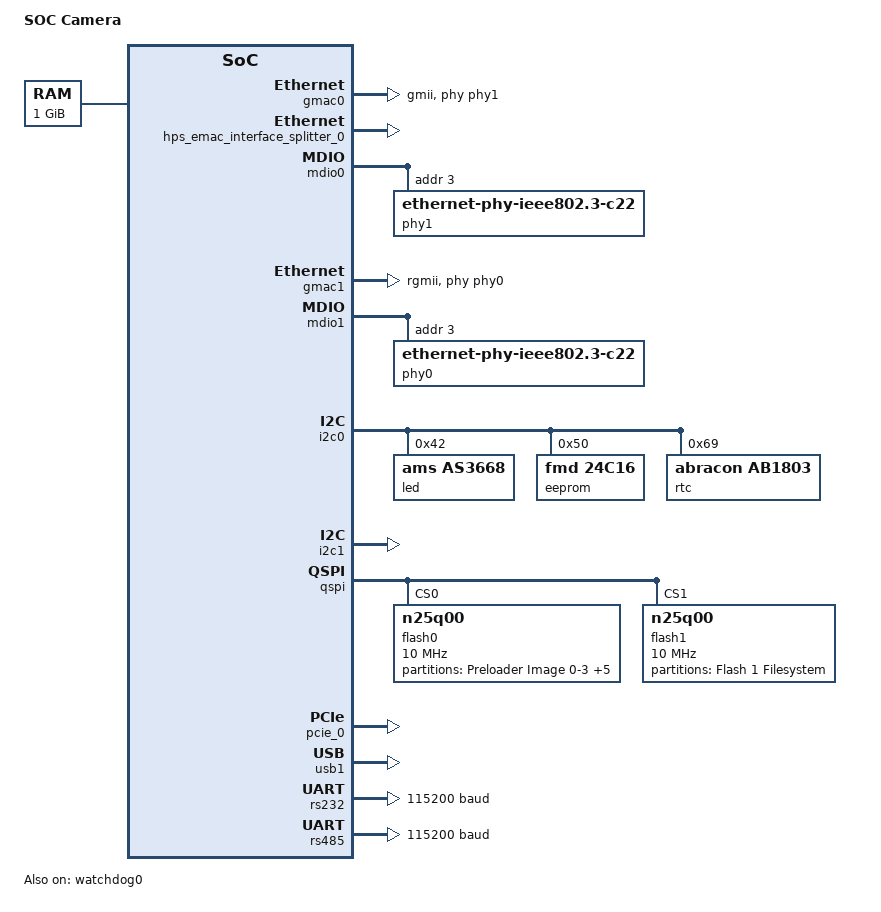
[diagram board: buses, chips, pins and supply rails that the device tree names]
/*
 *  Copyright (C) 2012 Altera Corporation <www.altera.com>
 *
 * This program is free software; you can redistribute it and/or modify
 * it under the terms of the GNU General Public License as published by
 * the Free Software Foundation; either version 2 of the License, or
 * (at your option) any later version.
 *
 * This program is distributed in the hope that it will be useful,
 * but WITHOUT ANY WARRANTY; without even the implied warranty of
 * MERCHANTABILITY or FITNESS FOR A PARTICULAR PURPOSE.  See the
 * GNU General Public License for more details.
 *
 * You should have received a copy of the GNU General Public License
 * along with this program.  If not, see <http://www.gnu.org/licenses/>.
 */

/dts-v1/;
#include "socfpga.dtsi"

/ {
	model = "SOC Camera";
	compatible = "altr,socfpga-cyclone5", "altr,socfpga";

	chosen {
		bootargs = "console=ttyS0,115200 root=/dev/mmcblk0p2 rw rootwait";
	};

	memory {
		name = "memory";
		device_type = "memory";
		reg = <0x0 0x40000000>; /* 1 GB */
	};

/* this allow the ethaddr uboot environmnet variable contents
* to be added to the gmac1 device tree blob.
*/

	aliases {
		ethernet0 = &gmac1;
		ethernet1 = &gmac0;
	};

	soc {
		clkmgr@ffd04000 {
			clocks {
				osc1 {
					clock-frequency = <25000000>;
				};
			};
		};

		dwmmc0@ff704000 {
			num-slots = <1>;
			supports-highspeed;
			broken-cd;
			altr,dw-mshc-ciu-div = <3>;
			altr,dw-mshc-sdr-timing = <0 3>;

			slot@0 {
				reg = <0>;
				bus-width = <4>;
			};
		};

		gmac0: ethernet@ff700000 {
			status = "okay";
			phy-handle = <&phy1>;
			phy-mode = "gmii";
			snps,max-mtu = <4062>;
			altr,emac-splitter = <&hps_emac_interface_splitter_0>;
		};

		hps_emac_interface_splitter_0: splitter@0xff2013000 {
			compatible = "altr,emac-splitter-1.0";
			reg = <0xFF213000 0x00000004>;
			clocks = < &h2f_user0_clk >;
		};

		mdio0: mdio@ff700000 {
			status = "okay";
			#address-cells = <1>;
			#size-cells = <0>;
			phy1: ethernet-phy@1 {
				reg = <0x3>;
				device_type = "ethernet-phy";
				compatible = "ethernet-phy-ieee802.3-c22";
			};
		};

		gmac1: ethernet@ff702000 {
			status = "okay";
			phy-handle = <&phy0>;
			phy-mode = "rgmii";
			snps,max-mtu = <4062>;
		};

		mdio1: mdio@ff702000 {
			status = "okay";
			#address-cells = <1>;
			#size-cells = <0>;
			phy0: ethernet-phy@0 {
				reg = <0x3>;
				device_type = "ethernet-phy";
				compatible = "ethernet-phy-ieee802.3-c22";
			};
		};

		i2c0: i2c@ffc04000 {
			speed-mode = <0>;
			status = "okay";
		};

		i2c1: i2c@ffc05000 {
			speed-mode = <0>;
			status = "okay";
		};

		qspi: spi@ff705000 {
			compatible = "cadence,qspi";
                        #address-cells = <1>;
			#size-cells = <0>;
			reg = <0xff705000 0x1000>,
				<0xffa00000 0x1000>;
			interrupts = <0 151 4>;
			master-ref-clk = <400000000>;
			ext-decoder = <0>;  /* external decoder */
			num-chipselect = <4>;
			fifo-depth = <128>;
			bus-num = <2>;

			flash0: n25q00@0 {
				#address-cells = <1>;
				#size-cells = <1>;
				compatible = "n25q00";
				reg = <0>;      /* chip select */
				spi-max-frequency = <10000000>;
				m25p,fast-read;
				page-size = <256>;
				block-size = <16>; /* 2^16, 64KB */
				read-delay = <4>;  /* delay value in read data capture register */
				tshsl-ns = <50>;
				tsd2d-ns = <50>;
				tchsh-ns = <4>;
				tslch-ns = <4>;

				partition@qspi-preloader {
					/* 64 KB for preloader image 0-3. */
					label = "Preloader Image 0-3";
					reg = <0x0 0x40000>;
				};
				partition@qspi-ubootenv {
					/* 64 KB for u-Boot Env. */
					label = "U-Boot Env";
					reg = <0x40000 0x10000>;
				};
				partition@qspi-dtb {
					/* 64 KB for DTB */
					label = "DTB";
					reg = <0x50000 0x10000>;
				};
				partition@qspi-uboot {
					/* 512 KB for U-Boot */
					label = "U-Boot";
					reg = <0x60000 0x80000>;
				};
				partition@qspi-kernel {
					/* 8 MB for Kernel */
					label = "Kernel";
					reg = <0xE0000 0x800000>;
				};
				partition@qspi-rootfs {
					/* 7.125 MB for jffs2 data. */
					label = "Flash 0 jffs2 Filesystem";
					reg = <0x8E0000 0x720000>;
				};
			};

			flash1: n25q00@1 {
				#address-cells = <1>;
				#size-cells = <1>;
				compatible = "n25q00";
				reg = <1>;      /* chip select */
				spi-max-frequency = <10000000>;
				m25p,fast-read;
				page-size = <256>;
				block-size = <16>; /* 2^16, 64KB */
				read-delay = <4>;  /* delay value in read data capture register */
				tshsl-ns = <50>;
				tsd2d-ns = <50>;
				tchsh-ns = <4>;
				tslch-ns = <4>;

				partition@0 {
					/* 16MB for raw data. */
					label = "Flash 1 Filesystem";
					reg = <0x0 0x1000000>;
				};
			};
		};

		pcie_0: pcie@0x0 {                                              
			compatible = "altr,pcie-root-port-1.0";                  
			reg = < 0xc0000000 0x20000000                            
				0xFF240000 0x00004000  >;                        
			reg-names = "Txs", "Cra";                                
			interrupt-parent = < &intc>;                             
			interrupts = < 0 40 4 >;                                 
			interrupt-controller;                                    
			#interrupt-cells = < 1 >;                                
			altr,msi = <&msi0>;                                      
			device_type = "pci";                                     
		};                                                              

		msi0: msi@0xFF200000 {                                          
			compatible = "altr,msi-1.0";                             
			reg = < 0xFF200000 0x00000010                            
			0xFF200010 0x00000080 >;                         
			reg-names = "csr", "vector_slave";                       
			interrupt-parent = < &intc>;                             
			interrupts = < 0 42 4 >;                                 
			msi-controller = < 1 >;                                  
			num-vectors = < 32 >;                                    
		};        

		timer0@ffc08000 {
			clock-frequency = <100000000>;
		};

		timer1@ffc09000 {
			clock-frequency = <100000000>;
		};

		timer2@ffd00000 {
			clock-frequency = <25000000>;
		};

		timer3@ffd01000 {
			clock-frequency = <25000000>;
		};

		serial0@ffc02000 {
			clock-frequency = <100000000>;
		};

		serial1@ffc03000 {
			clock-frequency = <100000000>;
		};

		sysmgr@ffd08000 {
			cpu1-start-addr = <0xffd080c4>;
		};

		usb1: usb@ffb40000 {
			status = "okay";
		};

		gpio3: gpio@ff220000 {
			compatible = "cl,camio-1.0";
			reg = <0xff220000 0x20>;
			interrupts = <0 41 4>;
			virtual_irq_start = <342>;
			interrupt-controller;
			#interrupt-cells = <2>;
			gpio-controller;
			#gpio-cells = <2>;
		};
		
		rs232: serial@0xFF207000 {
			compatible = "altr,uart-15.0", "altr,uart-1.0";
			reg = <0xFF207000 0x00000020>;
			interrupts = <0 45 4>;
			clock-frequency = <50000000>;
			current-speed = <115200>;
		};

		rs485: serial@0xFF206000 {
			compatible = "altr,uart-15.0", "altr,uart-1.0";
			reg = <0xFF206000 0x00000020>;
			interrupts = <0 44 4>;
			clock-frequency = <50000000>;
			current-speed = <115200>;
		};

		camlink_uart: serial@0xFF205000 {
			compatible = "altr,uart-15.0", "altr,uart-1.0";
			reg = <0xFF205000 0x00000020>;
			interrupts = <0 43 4>;
			clock-frequency = <50000000>;
			current-speed = <115200>;
		};

		sgdma_dispatcher: streamer@20000000 {
			compatible = "uio,irq";
			interrupts = <0 46 4>;
		};

		gpio_altr: gpio_altr {
		    compatible = "altr,pio-1.0";
		    reg = <0xff225000 0x10>;
		    #interrupts = <0 45 4>;
		    width = <32>;
		    level_trigger = <0>;
		    #gpio-cells = <2>;
		    gpio-controller;
		    #interrupt-cells = <1>;
		    interrupt-controller;
		};
	};

};

&watchdog0 {
	status = "okay";
};

&i2c0 {
	/* on SOM */
	led@42 {
		device_type = "led";
		compatible = "ams,as3668";
		reg = <0x42>;
	};
	/* on SOM */
	eeprom@50 {
		compatible = "fmd,24c16";
		reg = <0x50>;
	};
	/* on SOM */
	rtc@69 {
		device_type = "rtc";
		compatible = "abracon,ab1803";
		reg = <0x69>;
	};
};

